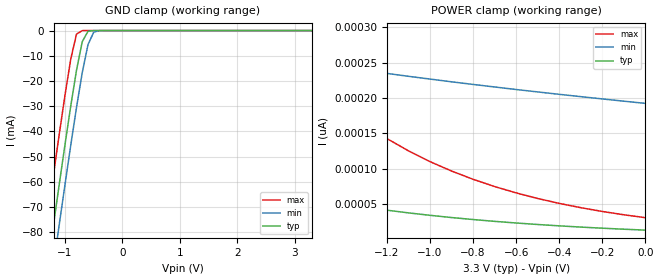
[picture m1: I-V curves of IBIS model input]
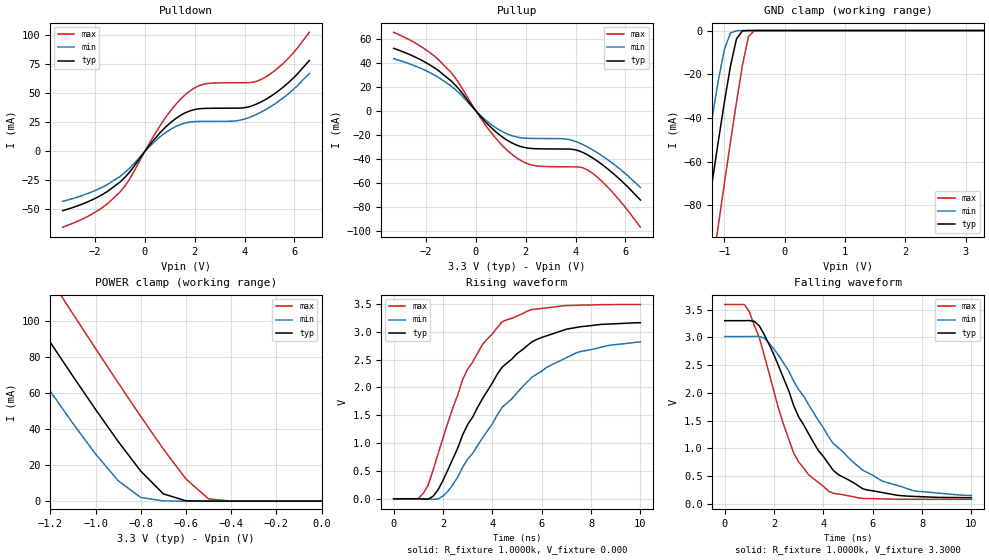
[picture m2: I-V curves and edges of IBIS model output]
[IBIS ver]   3.2
[Comment Char]   |_char
[File name]   epcs.ibs
[File Rev]   1.0
[Date]   May, 2003
[Source]   Altera Corporation
[Notes]   Tentative model for:
   EPCS1
   EPCS4
[Disclaimer]   Data is preliminary and is meant for modeling purposes
   only. It is not guaranteed
[Copyright]   Altera Corporation. All rights reserved.
[Component]   EPCS
[Manufacturer]   Altera
[Package]
| variable   typ   min   max
R_pkg   8.0000m   8.0000m   8.0000m
L_pkg   1.2000nH   1.2000nH   1.2000nH
C_pkg   2.0000pF   1.0000pF   4.0000pF
[Pin]  signal_name   model_name   R_pin   L_pin   C_pin
1   nCS   input
2   DATA   output
3   Vcc   POWER
4   Gnd   GND
5   ASDI   input
6   DCLK   input
7   Vcc   POWER
8   Vcc   POWER
| Models and submodels in the file (2): input (Input), output (3-state)
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|-------------------+
| Models Begin Here |
|-------------------+
[Model]   input
Model_type   Input
Vinl =   0.99V
Vinh =   2.31V
C_comp   5.0000pF   5.0000pF   5.0000pF
[Temperature Range]   27.0000   85.0000   -45.0000
[Voltage Range]   3.3000V   3.0000V   3.6000V
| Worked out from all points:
|   GND clamp passes 1 mA (typ) near -0.62 V on its own axis
[GND_clamp]
| voltage   I(typ)   I(min)   I(max)
-3.4V     -429.7mA   -445mA     -410.7mA
-1.4V     -109.7mA   -125.7mA   -89.83mA
-1.3V     -93.33mA   -109.3mA   -73.37mA
-1.2V     -77.04mA   -93.04mA   -57.08mA
-1.1V     -60.96mA   -76.92mA   -41.07mA
-900mV    -29.91mA   -45.48mA   -11.27mA
-800mV    -15.71mA   -30.51mA   -1.406mA
-700mV    -4.408mA   -16.67mA   -15.7uA
-600mV    -262.8uA   -5.557mA   -118.6nA
-500mV    -6.747uA   -605.3uA   -891.6pA
-400mV    -164.1nA   -29.81uA   -7.097pA
3.3V      13.18pA    201.9pA    21.18pA
[POWER_clamp]
| voltage   I(typ)   I(min)   I(max)
-3.3V     326.6pA    383.6pA    2.235nA
-3.2V     295.7pA    371.8pA    1.959nA
-2.9V     219.6pA    340.4pA    1.32nA
-2.5V     147.8pA    306.7pA    780.5pA
-2.3V     121.3pA    292.5pA    600.3pA
-1.8V     74.24pA    262.8pA    311.9pA
-1.7V     67.32pA    257.7pA    273.6pA
-1.4V     50.26pA    243.4pA    185.1pA
-1.2V     41.4pA     234.8pA    142.7pA
-1V       34.13pA    226.8pA    110.1pA
-600mV    23.26pA    212pA      65.83pA
0V        13.18pA    192.4pA    30.77pA
[Model]   output
Model_type   3-state
C_comp   5.0000pF   5.0000pF   5.0000pF
[Temperature Range]   27.0000   85.0000   -45.0000
[Voltage Range]   3.3000V   3.0000V   3.6000V
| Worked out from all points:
|   slope of the pulldown table from 0 to 0.495 V, typ, clamps not added: 37.2 ohm
|   slope of the pullup table from 0 to 0.495 V, typ, clamps not added: 43.1 ohm
|   GND clamp passes 1 mA (typ) near -0.72 V on its own axis
|   POWER clamp passes 1 mA (typ) near -0.62 V on its own axis
|   rising waveform, R_fixture 1.0000k, V_fixture 0.000: 20-80 % time 2.52ns typ, 3.07ns min, 1.92ns max; typ from 0 V to 3.16 V
|   falling waveform, R_fixture 1.0000k, V_fixture 3.3000: 20-80 % time 2.15ns typ, 2.75ns min, 1.49ns max; typ from 3.3 V to 0.112 V
[Pulldown]
| voltage   I(typ)   I(min)   I(max)
-3.3V     -51.06mA   -43.02mA   -65.28mA
-1.9V     -39.47mA   -32.8mA    -51.19mA
-1V       -26.42mA   -21.6mA    -35.06mA
-600mV    -17.48mA   -14.17mA   -23.42mA
600mV     15.8mA     12.4mA     21.79mA
1.2V      27.66mA    21mA       39.45mA
1.7V      33.99mA    24.83mA    50.25mA
2.4V      37.03mA    25.9mA     58.05mA
3.7V      37.28mA    26.47mA    59.16mA
4.7V      43.02mA    34.24mA    62.37mA
5.7V      58.08mA    48.62mA    78.96mA
6.6V      78.37mA    67.21mA    102.6mA
[Pullup]
| voltage   I(typ)   I(min)   I(max)
-3.3V     51.94mA    43.37mA    65.27mA
-1.9V     38.82mA    32.33mA    49.22mA
-1V       24.97mA    20.71mA    31.95mA
500mV     -11.59mA   -9.469mA   -15.01mA
1V        -20.75mA   -16.55mA   -27.47mA
1.5V      -27.19mA   -21mA      -37.03mA
2.3V      -31.36mA   -22.92mA   -45.26mA
3.7V      -31.75mA   -23.73mA   -46.5mA
4.2V      -33.77mA   -27.14mA   -46.87mA
4.5V      -36.8mA    -30.23mA   -49.34mA
5.5V      -51.87mA   -43.82mA   -68.08mA
6.6V      -74.07mA   -63.62mA   -96.64mA
[GND_clamp]
| voltage   I(typ)   I(min)   I(max)
-3.3V     -478.8mA   -444.2mA   -521.9mA
-1.5V     -125.7mA   -93.84mA   -166.4mA
-1.4V     -106.6mA   -75.2mA    -146.9mA
-1.3V     -87.58mA   -56.92mA   -127.5mA
-1.1V     -50.43mA   -22.62mA   -88.88mA
-1V       -32.68mA   -8.592mA   -69.83mA
-900mV    -16.28mA   -1.127mA   -51.06mA
-800mV    -3.804mA   -52.54uA   -32.8mA
-700mV    -161uA     -2.074uA   -15.7mA
-600mV    -3.476uA   -81.25nA   -2.668mA
-500mV    -72.82nA   -3.185nA   -32.22uA
3.3V      3.3pA      261.2pA    2.985pA
[POWER_clamp]
| voltage   I(typ)   I(min)   I(max)
-3.3V     499.1mA    468.4mA    537.4mA
-1.5V     145.5mA    117mA      181.7mA
-1.4V     126.2mA    98.05mA    162.1mA
-1.3V     107.1mA    79.36mA    142.6mA
-1.2V     88.07mA    60.98mA    123.2mA
-1.1V     69.31mA    43.12mA    103.9mA
-900mV    33.13mA    11.36mA    65.67mA
-800mV    16.68mA    2.019mA    46.99mA
-700mV    4.028mA    107.7uA    28.9mA
-600mV    177.4uA    4.289uA    12.27mA
-500mV    3.844uA    168.1nA    1.249mA
0V        3.3pA      3pA        3.6pA
[Ramp]
| variable   typ   min   max
dV/dt_r   1.8293/0.3121n   1.6369/0.3816n   2.0332/0.2599n
dV/dt_f   1.8493/0.4310n   1.6523/0.5052n   2.0565/0.3584n
[Rising Waveform]
R_fixture = 1.0000k
V_fixture = 0.000
| time   V(typ)   V(min)   V(max)
0s        144.9pV    4.835nV    89.39pV
1ns       -397.3uV   89.5uV     3.546mV
1.6ns     45.05mV    -10.13mV   518mV
2.2ns     522.5mV    136.4mV    1.369V
2.8ns     1.152V     569.6mV    2.149V
3.6ns     1.798V     1.092V     2.771V
4.4ns     2.366V     1.645V     3.181V
5.6ns     2.818V     2.184V     3.4V
7.4ns     3.077V     2.621V     3.476V
10ns      3.163V     2.817V     3.49V
[Falling Waveform]
R_fixture = 1.0000k
V_fixture = 3.3000
| time   V(typ)   V(min)   V(max)
0s        3.3V       3.014V     3.591V
800ps     3.3V       3.014V     3.59V
1.4ns     3.208V     3.017V     3V
2ns       2.681V     2.785V     2.018V
2.8ns     1.766V     2.208V     910.7mV
3.4ns     1.264V     1.789V     524.2mV
4.2ns     728.5mV    1.217V     232.7mV
5.6ns     272.3mV    606.4mV    98.91mV
6.4ns     203.9mV    410mV      90.76mV
10ns      112.4mV    152.7mV    82.67mV
